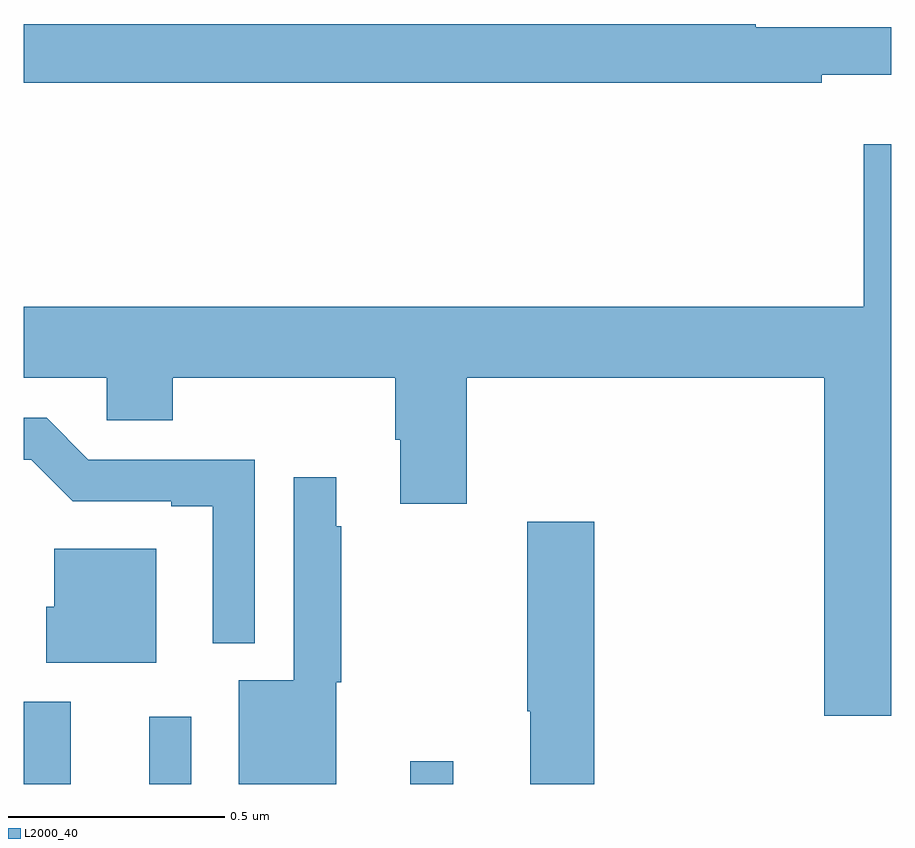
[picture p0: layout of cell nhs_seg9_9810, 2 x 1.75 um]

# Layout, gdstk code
import gdstk
lib = gdstk.Library(unit=1e-6, precision=1e-09)
def R(c, l, rs):  # rectangles x0, y0, x1, y1
    for r in rs: c.add(gdstk.rectangle(r[:2], r[2:], *l))
def P(c, l, *ps):  # polygons
    for p in ps: c.add(gdstk.Polygon(p, *l))
L2000_40 = (2000, 40)

nhs_seg9_9810 = lib.new_cell('nhs_seg9_9810')
R(nhs_seg9_9810, L2000_40, [(235,1179.5,235.109,1179.69), (235.289,1179.5,235.386,1179.655), (235.891,1179.5,235.99,1179.553)])
P(nhs_seg9_9810, L2000_40, [(236.84,1181.135),(237,1181.135),(237,1181.245),(236.687,1181.245),(236.687,1181.252),(235,1181.252),(235,1181.116),(236.84,1181.116)],
  [(237,1180.975),(236.936,1180.975),(236.936,1180.6),(235,1180.6),(235,1180.436),(235.191,1180.436),(235.191,1180.338),(235.343,1180.338),(235.343,1180.436),(235.856,1180.436),(235.856,1180.294),(235.868,1180.294),(235.868,1180.146),(236.021,1180.146),(236.021,1180.436),(236.846,1180.436),(236.846,1179.657),(237,1179.657)],
  [(235.533,1180.248),(235.149,1180.248),(235.053,1180.344),(235,1180.344),(235,1180.248),(235.017,1180.248),(235.113,1180.152),(235.34,1180.152),(235.34,1180.14),(235.436,1180.14),(235.436,1179.824),(235.533,1179.824)],
  [(235.72,1179.735),(235.732,1179.735),(235.732,1180.094),(235.72,1180.094),(235.72,1180.207),(235.623,1180.207),(235.623,1179.739),(235.496,1179.739),(235.496,1179.5),(235.72,1179.5)],
  [(236.315,1180.105),(236.161,1180.105),(236.161,1179.668),(236.168,1179.668),(236.168,1179.5),(236.315,1179.5)],
  [(235.306,1180.042),(235.07,1180.042),(235.07,1179.909),(235.052,1179.909),(235.052,1179.779),(235.306,1179.779)])

lib.write_gds('nhs_seg9_9810.gds')
